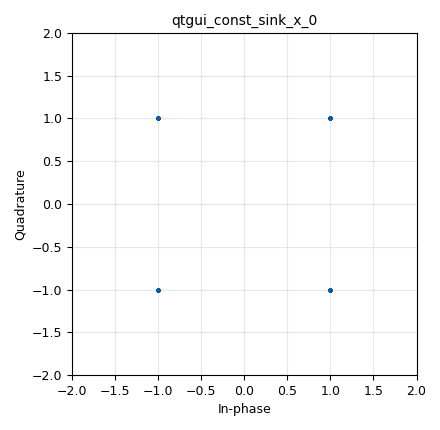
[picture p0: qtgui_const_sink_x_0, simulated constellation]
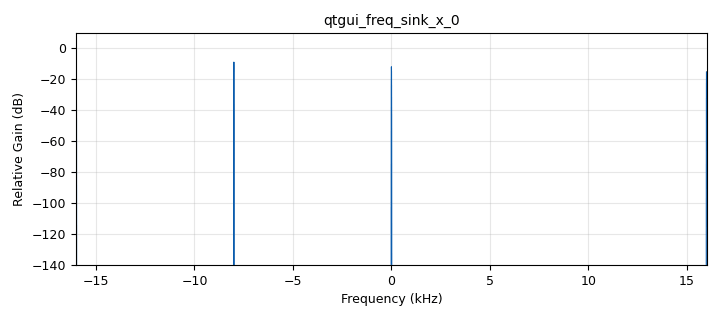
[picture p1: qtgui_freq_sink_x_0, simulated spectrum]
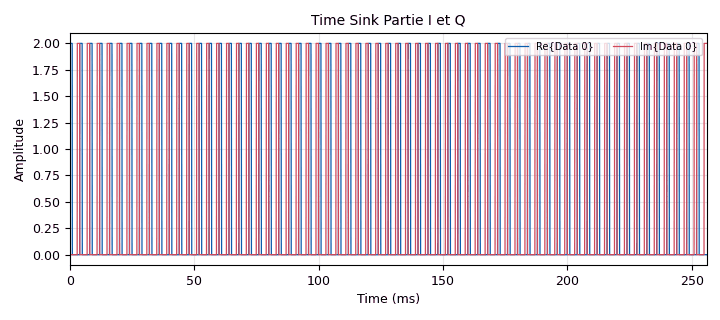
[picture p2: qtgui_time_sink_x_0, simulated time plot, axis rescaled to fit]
options:
  parameters:
    generate_options: qt_gui
    id: QPSK
    output_language: python
    title: Not titled yet
  states: {}

blocks:
- name: Fc
  id: variable
  parameters:
    value: '8000'
  states: {}
- name: Fs
  id: variable
  parameters:
    value: 4 * Fc
  states: {}
- name: samp_rate
  id: variable
  parameters:
    value: '32000'
  states: {}
- name: symbol_rate
  id: variable
  parameters:
    value: '1000'
  states: {}
- name: analog_random_source_x_0
  id: analog_random_source_x
  parameters:
    max: '1'
    min: '0'
    num_samps: '16000'
    repeat: 'True'
    type: int
  states: {}
- name: analog_sig_source_x_0
  id: analog_sig_source_x
  parameters:
    amp: '1'
    freq: Fc
    offset: '0'
    phase: '0'
    samp_rate: samp_rate
    type: complex
    waveform: analog.GR_COS_WAVE
  states: {}
- name: analog_sig_source_x_0_0
  id: analog_sig_source_x
  parameters:
    amp: '1'
    freq: Fc
    offset: '0'
    phase: '0'
    samp_rate: samp_rate
    type: complex
    waveform: analog.GR_SIN_WAVE
  states: {}
- name: blocks_add_xx_0
  id: blocks_add_xx
  parameters:
    type: complex
  states: {}
- name: blocks_complex_to_float_0
  id: blocks_complex_to_float
  parameters: {}
  states: {}
- name: blocks_float_to_complex_0
  id: blocks_float_to_complex
  parameters: {}
  states: {}
- name: blocks_float_to_complex_0_0
  id: blocks_float_to_complex
  parameters: {}
  states: {}
- name: blocks_multiply_xx_0
  id: blocks_multiply_xx
  parameters:
    type: complex
  states: {}
- name: blocks_multiply_xx_0_1
  id: blocks_multiply_xx
  parameters:
    type: complex
  states: {}
- name: blocks_repeat_0
  id: blocks_repeat
  parameters:
    interp: int(Fs/symbol_rate)
    type: complex
  states: {}
- name: blocks_throttle2_0
  id: blocks_throttle2
  parameters:
    samples_per_second: samp_rate
    type: complex
  states: {}
- name: digital_chunks_to_symbols_xx_0
  id: digital_chunks_to_symbols_xx
  parameters:
    dimension: '4'
    in_type: int
    out_type: complex
    symbol_table: '[1+1j, 1-1j, -1+1j, -1-1j]'
  states: {}
- name: epy_block_1
  id: epy_block
  parameters:
    _source_code: |-
      import numpy as np
      from gnuradio import gr

      class blk(gr.sync_block):
          def __init__(self, echantillons_sec=128):
              gr.sync_block.__init__(
                  self,
                  name='Mapping Phase QPSK',
                  in_sig=[np.complex64],
                  out_sig=[np.complex64]
              )

          def work(self, input_items, output_items):
              inp = input_items[0]   # <-- récupération de l'entrée
              out = output_items[0]
              n = len(out)
              index = 0
              for i in range(n):
                  out[i] = inp[index]   # <-- utilisation de l'entrée
                  index = index + 1

              return len(out)
    echantillons_sec: samp_rate
  states: {}
- name: note_0
  id: note
  parameters:
    note: 8 périodes par symbole
  states: {}
- name: note_0_0
  id: note
  parameters:
    note: symbol_rate < Fc*2
  states: {}
- name: note_0_1
  id: note
  parameters:
    note: samp_rate / symbol_rate
  states: {}
- name: note_0_2
  id: note
  parameters:
    note: Fs > 2 * Fc
  states: {}
- name: qtgui_const_sink_x_0
  id: qtgui_const_sink_x
  parameters:
    size: '1024'
    type: complex
  states: {}
- name: qtgui_freq_sink_x_0
  id: qtgui_freq_sink_x
  parameters:
    bw: Fs
    fc: '0'
    fftsize: '8192'
    type: complex
  states: {}
- name: qtgui_time_sink_x_0
  id: qtgui_time_sink_x
  parameters:
    name: Time Sink Partie I et Q
    size: '8192'
    srate: samp_rate
    type: complex
  states: {}

connections:
- [analog_random_source_x_0, '0', digital_chunks_to_symbols_xx_0, '0']
- [analog_sig_source_x_0, '0', blocks_multiply_xx_0, '0']
- [analog_sig_source_x_0_0, '0', blocks_multiply_xx_0_1, '0']
- [blocks_add_xx_0, '0', blocks_throttle2_0, '0']
- [blocks_complex_to_float_0, '0', blocks_float_to_complex_0, '0']
- [blocks_complex_to_float_0, '1', blocks_float_to_complex_0_0, '0']
- [blocks_float_to_complex_0, '0', blocks_multiply_xx_0, '1']
- [blocks_float_to_complex_0_0, '0', blocks_multiply_xx_0_1, '1']
- [blocks_multiply_xx_0, '0', blocks_add_xx_0, '0']
- [blocks_multiply_xx_0_1, '0', blocks_add_xx_0, '1']
- [blocks_repeat_0, '0', qtgui_time_sink_x_0, '0']
- [blocks_throttle2_0, '0', blocks_repeat_0, '0']
- [blocks_throttle2_0, '0', qtgui_freq_sink_x_0, '0']
- [digital_chunks_to_symbols_xx_0, '0', epy_block_1, '0']
- [digital_chunks_to_symbols_xx_0, '0', qtgui_const_sink_x_0, '0']
- [epy_block_1, '0', blocks_complex_to_float_0, '0']

metadata:
  file_format: 1
  grc_version: 3.10.12.0
